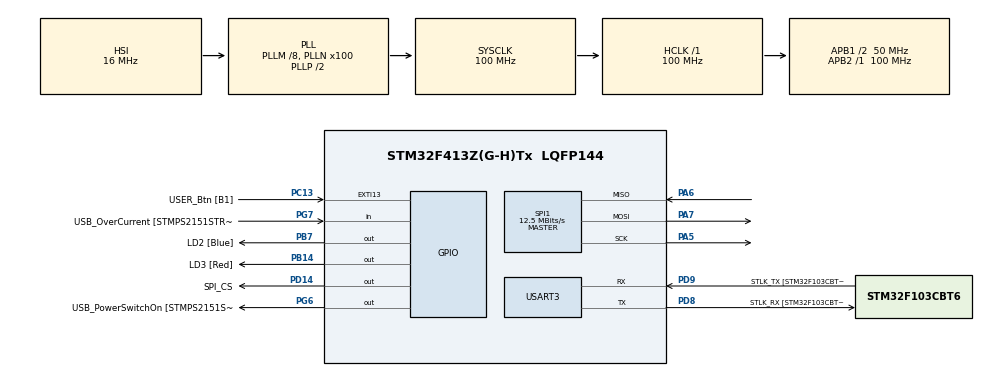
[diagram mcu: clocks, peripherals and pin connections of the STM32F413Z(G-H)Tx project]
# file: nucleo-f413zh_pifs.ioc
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Dma.Request0=SPI1_RX
Dma.Request1=SPI1_TX
Dma.SPI1_RX.0.Direction=DMA_PERIPH_TO_MEMORY
Dma.SPI1_RX.0.FIFOMode=DMA_FIFOMODE_DISABLE
Dma.SPI1_RX.0.Instance=DMA2_Stream0
Dma.SPI1_RX.0.MemDataAlignment=DMA_MDATAALIGN_BYTE
Dma.SPI1_RX.0.MemInc=DMA_MINC_ENABLE
Dma.SPI1_RX.0.Mode=DMA_NORMAL
Dma.SPI1_RX.0.PeriphDataAlignment=DMA_PDATAALIGN_BYTE
Dma.SPI1_RX.0.PeriphInc=DMA_PINC_DISABLE
Dma.SPI1_RX.0.Priority=DMA_PRIORITY_LOW
Dma.SPI1_TX.1.Direction=DMA_MEMORY_TO_PERIPH
Dma.SPI1_TX.1.FIFOMode=DMA_FIFOMODE_DISABLE
Dma.SPI1_TX.1.Instance=DMA2_Stream2
Dma.SPI1_TX.1.MemDataAlignment=DMA_MDATAALIGN_BYTE
Dma.SPI1_TX.1.MemInc=DMA_MINC_ENABLE
Dma.SPI1_TX.1.Mode=DMA_NORMAL
Dma.SPI1_TX.1.PeriphDataAlignment=DMA_PDATAALIGN_BYTE
Dma.SPI1_TX.1.PeriphInc=DMA_PINC_DISABLE
Dma.SPI1_TX.1.Priority=DMA_PRIORITY_LOW
FREERTOS.HEAP_NUMBER=3
FREERTOS.MEMORY_ALLOCATION=0
FREERTOS.Tasks01=defaultTask,0,2048,StartDefaultTask,Default,NULL,Dynamic,NULL,NULL
FREERTOS.configCHECK_FOR_STACK_OVERFLOW=2
FREERTOS.configUSE_STATS_FORMATTING_FUNCTIONS=1
FREERTOS.configUSE_TRACE_FACILITY=1
IWDG.Prescaler=IWDG_PRESCALER_32
IWDG.Reload=800
Mcu.Family=STM32F4
Mcu.Name=STM32F413Z(G-H)Tx
Mcu.Package=LQFP144
NVIC.DMA2_Stream0_IRQn=true\:5\:0\:false\:false\:true\:true\:true
NVIC.DMA2_Stream2_IRQn=true\:5\:0\:false\:false\:true\:true\:true
NVIC.PriorityGroup=NVIC_PRIORITYGROUP_4
NVIC.TIM2_IRQn=true\:0\:0\:false\:false\:true\:false\:true
NVIC.TimeBase=TIM2_IRQn
NVIC.TimeBaseIP=TIM2
PA10.GPIO_Label=USB_ID
PA10.Signal=USB_OTG_FS_ID
PA11.GPIO_Label=USB_DM
PA11.Signal=USB_OTG_FS_DM
PA12.GPIO_Label=USB_DP
PA12.Signal=USB_OTG_FS_DP
PA13.GPIO_Label=TMS
PA13.Mode=Trace_Asynchronous_SW
PA13.Signal=SYS_JTMS-SWDIO
PA14.GPIO_Label=TCK
PA14.Mode=Trace_Asynchronous_SW
PA14.Signal=SYS_JTCK-SWCLK
PA5.Mode=Full_Duplex_Master
PA5.Signal=SPI1_SCK
PA6.Mode=Full_Duplex_Master
PA6.Signal=SPI1_MISO
PA7.Mode=Full_Duplex_Master
PA7.Signal=SPI1_MOSI
PA8.GPIO_Label=USB_SOF [TP1]
PA8.Signal=USB_OTG_FS_SOF
PA9.GPIO_Label=USB_VBUS
PA9.Signal=USB_OTG_FS_VBUS
PB14.GPIO_Label=LD3 [Red]
PB14.Signal=GPIO_Output
PB3.GPIO_Label=SWO
PB3.Mode=Trace_Asynchronous_SW
PB3.Signal=SYS_JTDO-SWO
PB7.GPIO_Label=LD2 [Blue]
PB7.Signal=GPIO_Output
PC13.GPIO_Label=USER_Btn [B1]
PC13.Signal=GPXTI13
PC14-OSC32_IN.Signal=RCC_OSC32_IN
PC15-OSC32_OUT.Signal=RCC_OSC32_OUT
PD14.GPIO_Label=SPI_CS
PD14.Signal=GPIO_Output
PD8.GPIO_Label=STLK_RX [STM32F103CBT6_PA3]
PD8.Mode=Asynchronous
PD8.Signal=USART3_TX
PD9.GPIO_Label=STLK_TX [STM32F103CBT6_PA2]
PD9.Mode=Asynchronous
PD9.Signal=USART3_RX
PG6.GPIO_Label=USB_PowerSwitchOn [STMPS2151STR_EN]
PG6.Signal=GPIO_Output
PG7.GPIO_Label=USB_OverCurrent [STMPS2151STR_FAULT]
PG7.Signal=GPIO_Input
PH0\ -\ OSC_IN.GPIO_Label=MCO
PH0\ -\ OSC_IN.Mode=HSE-External-Oscillator
PH0\ -\ OSC_IN.Signal=RCC_OSC_IN
PH1\ -\ OSC_OUT.Mode=HSE-External-Oscillator
PH1\ -\ OSC_OUT.Signal=RCC_OSC_OUT
ProjectManager.HeapSize=0x200
ProjectManager.StackSize=0x400
ProjectManager.TargetToolchain=SW4STM32
RCC.48MHZClocksFreq_Value=24000000
RCC.AHBFreq_Value=100000000
RCC.APB1CLKDivider=RCC_HCLK_DIV2
RCC.APB1Freq_Value=50000000
RCC.APB1TimFreq_Value=100000000
RCC.APB2Freq_Value=100000000
RCC.APB2TimFreq_Value=100000000
RCC.CortexFreq_Value=100000000
RCC.HCLKFreq_Value=100000000
RCC.HSE_VALUE=8000000
RCC.HSI_VALUE=16000000
RCC.PLLM=8
RCC.PLLMUL=RCC_PLL_MUL9
RCC.PLLN=100
RCC.PRESCALERUSB=RCC_USBCLKSOURCE_PLL_DIV1_5
RCC.SYSCLKFreq_VALUE=100000000
RCC.SYSCLKSource=RCC_SYSCLKSOURCE_PLLCLK
RCC.SYSCLKSourceVirtual=RCC_SYSCLKSOURCE_PLLCLK
RCC.USBFreq_Value=100000000
RCC.VCOOutputFreq_Value=200000000
SPI1.BaudRatePrescaler=SPI_BAUDRATEPRESCALER_8
SPI1.CalculateBaudRate=12.5 MBits/s
SPI1.Direction=SPI_DIRECTION_2LINES
SPI1.Mode=SPI_MODE_MASTER
SPI1.VirtualType=VM_MASTER
USART3.VirtualMode=VM_ASYNC
VP_FREERTOS_VS_ENABLE.Mode=Enabled
VP_IWDG_VS_IWDG.Mode=IWDG_Activate
VP_SYS_VS_tim2.Mode=TIM2
board=NUCLEO-F413ZH

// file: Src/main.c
/**
  ******************************************************************************
  * @file           : main.c
  * @brief          : Main program body
  ******************************************************************************
  * This notice applies to any and all portions of this file
  * that are not between comment pairs USER CODE BEGIN and
  * USER CODE END. Other portions of this file, whether
  * inserted by the user or by software development tools
  * are owned by their respective copyright owners.
  *
  * Copyright (c) 2018 STMicroelectronics International N.V.
  * All rights reserved.
  *
  * Redistribution and use in source and binary forms, with or without
  * modification, are permitted, provided that the following conditions are met:
  *
  * 1. Redistribution of source code must retain the above copyright notice,
  *    this list of conditions and the following disclaimer.
  * 2. Redistributions in binary form must reproduce the above copyright notice,
  *    this list of conditions and the following disclaimer in the documentation
  *    and/or other materials provided with the distribution.
  * 3. Neither the name of STMicroelectronics nor the names of other
  *    contributors to this software may be used to endorse or promote products
  *    derived from this software without specific written permission.
  * 4. This software, including modifications and/or derivative works of this
  *    software, must execute solely and exclusively on microcontroller or
  *    microprocessor devices manufactured by or for STMicroelectronics.
  * 5. Redistribution and use of this software other than as permitted under
  *    this license is void and will automatically terminate your rights under
  *    this license.
  *
  * THIS SOFTWARE IS PROVIDED BY STMICROELECTRONICS AND CONTRIBUTORS "AS IS"
  * AND ANY EXPRESS, IMPLIED OR STATUTORY WARRANTIES, INCLUDING, BUT NOT
  * LIMITED TO, THE IMPLIED WARRANTIES OF MERCHANTABILITY, FITNESS FOR A
  * PARTICULAR PURPOSE AND NON-INFRINGEMENT OF THIRD PARTY INTELLECTUAL PROPERTY
  * RIGHTS ARE DISCLAIMED TO THE FULLEST EXTENT PERMITTED BY LAW. IN NO EVENT
  * SHALL STMICROELECTRONICS OR CONTRIBUTORS BE LIABLE FOR ANY DIRECT, INDIRECT,
  * INCIDENTAL, SPECIAL, EXEMPLARY, OR CONSEQUENTIAL DAMAGES (INCLUDING, BUT NOT
  * LIMITED TO, PROCUREMENT OF SUBSTITUTE GOODS OR SERVICES; LOSS OF USE, DATA,
  * OR PROFITS; OR BUSINESS INTERRUPTION) HOWEVER CAUSED AND ON ANY THEORY OF
  * LIABILITY, WHETHER IN CONTRACT, STRICT LIABILITY, OR TORT (INCLUDING
  * NEGLIGENCE OR OTHERWISE) ARISING IN ANY WAY OUT OF THE USE OF THIS SOFTWARE,
  * EVEN IF ADVISED OF THE POSSIBILITY OF SUCH DAMAGE.
  *
  ******************************************************************************
  */
#include "main.h"
#include "stm32f4xx_hal.h"
#include "cmsis_os.h"

/* USER CODE BEGIN Includes */
#include <stdlib.h>
#include <time.h>
#include <stdio.h>
#include <string.h>
#include <stdarg.h>
#include "../../../source/core/common.h"
#include "uart.h"
#include "../../../source/term/term.h"
#include "../../../source/test/flash_test.h"

#define DISABLE_WATCHDOG_MAGIC  0xDEADBEEF
#define ENABLE_TERMINAL         1
#define ENABLE_FLASH_TEST       0
#define ENABLE_PIFS_TEST        0
#define ENABLE_ERASE_ALL        0
/* USER CODE END Includes */

IWDG_HandleTypeDef hiwdg;

SPI_HandleTypeDef hspi1;
DMA_HandleTypeDef hdma_spi1_rx;
DMA_HandleTypeDef hdma_spi1_tx;

UART_HandleTypeDef huart3;

osThreadId defaultTaskHandle;

/* USER CODE BEGIN PV */
/* Private variables ---------------------------------------------------------*/
osThreadId watchdogTaskHandle;
osMutexDef(printf_mutex);
osMutexId printf_mutex = NULL;
uint32_t disableWatchdog = 0;
extern void defaultTask(void const * argument);
/* USER CODE END PV */

void SystemClock_Config(void);
static void MX_GPIO_Init(void);
static void MX_DMA_Init(void);
static void MX_SPI1_Init(void);
static void MX_USART3_UART_Init(void);
static void MX_IWDG_Init(void);
void StartDefaultTask(void const * argument);

/* USER CODE BEGIN PFP */
/* Private function prototypes -----------------------------------------------*/
void watchdogTask(void const * arg);
/* USER CODE END PFP */

/* USER CODE BEGIN 0 */
static inline void LED_on(void)
{
    HAL_GPIO_WritePin(LD2_GPIO_Port, LD2_Pin, GPIO_PIN_SET);
}

static inline void LED_off(void)
{
    HAL_GPIO_WritePin(LD2_GPIO_Port, LD2_Pin, GPIO_PIN_RESET);
}

static inline void LED_toggle(void)
{
    HAL_GPIO_TogglePin(LD2_GPIO_Port, LD2_Pin);
}
/* USER CODE END 0 */

int main(void)
{

  /* MCU Configuration----------------------------------------------------------*/

  /* Reset of all peripherals, Initializes the Flash interface and the Systick. */
  HAL_Init();

  /* Configure the system clock */
  SystemClock_Config();

  /* USER CODE BEGIN SysInit */
  /* Enable division by zero fault */
  SCB->CCR |= 0x10;
  /* USER CODE END SysInit */

  /* Initialize all configured peripherals */
  MX_GPIO_Init();
  MX_DMA_Init();
  MX_SPI1_Init();
  MX_USART3_UART_Init();
  MX_IWDG_Init();
  /* USER CODE BEGIN 2 */
  srand(time(0));
  UART_printf_("\r\n\r\nBoard initialized\r\n");
#if DEBUG == 1
  UART_printf_("DEBUG\r\n");
#else
  UART_printf_("RELEASE\r\n");
#endif
  UART_printf_("Compiled on " __DATE__ " " __TIME__ "\r\n");
#if ENABLE_WATCHDOG
  UART_printf_("Watchdog started\r\n");
  HAL_IWDG_Refresh(&hiwdg);
#else
  UART_printf_("Watchdog disabled\r\n");
#endif
  setbuf(stdout, NULL);
  printf("+++ printf test! +++\r\n");

  /* USER CODE END 2 */

  /* USER CODE BEGIN RTOS_MUTEX */
  printf_mutex = osMutexCreate(osMutex(printf_mutex));
  /* USER CODE END RTOS_MUTEX */

  /* Create the thread(s) */
  /* definition and creation of defaultTask */
  osThreadDef(defaultTask, StartDefaultTask, osPriorityNormal, 0, 2048);
  defaultTaskHandle = osThreadCreate(osThread(defaultTask), NULL);

  /* USER CODE BEGIN RTOS_THREADS */
  osThreadDef(watchdogTask, watchdogTask, osPriorityNormal, 0, 64);
  watchdogTaskHandle = osThreadCreate(osThread(watchdogTask), NULL);
  /* USER CODE END RTOS_THREADS */

  /* Start scheduler */
  osKernelStart();

  /* We should never get here as control is now taken by the scheduler */

  /* Infinite loop */
  while (1)
  {

  }

}

void SystemClock_Config(void)
{

  RCC_OscInitTypeDef RCC_OscInitStruct;
  RCC_ClkInitTypeDef RCC_ClkInitStruct;

    /**Configure the main internal regulator output voltage
    */
  __HAL_RCC_PWR_CLK_ENABLE();

  __HAL_PWR_VOLTAGESCALING_CONFIG(PWR_REGULATOR_VOLTAGE_SCALE1);

    /**Initializes the CPU, AHB and APB busses clocks
    */
  RCC_OscInitStruct.OscillatorType = RCC_OSCILLATORTYPE_HSI|RCC_OSCILLATORTYPE_LSI;
  RCC_OscInitStruct.HSIState = RCC_HSI_ON;
  RCC_OscInitStruct.HSICalibrationValue = 16;
  RCC_OscInitStruct.LSIState = RCC_LSI_ON;
  RCC_OscInitStruct.PLL.PLLState = RCC_PLL_ON;
  RCC_OscInitStruct.PLL.PLLSource = RCC_PLLSOURCE_HSI;
  RCC_OscInitStruct.PLL.PLLM = 8;
  RCC_OscInitStruct.PLL.PLLN = 100;
  RCC_OscInitStruct.PLL.PLLP = RCC_PLLP_DIV2;
  RCC_OscInitStruct.PLL.PLLQ = 2;
  RCC_OscInitStruct.PLL.PLLR = 2;
  if (HAL_RCC_OscConfig(&RCC_OscInitStruct) != HAL_OK)
  {
    _Error_Handler(__FILE__, __LINE__);
  }

    /**Initializes the CPU, AHB and APB busses clocks
    */
  RCC_ClkInitStruct.ClockType = RCC_CLOCKTYPE_HCLK|RCC_CLOCKTYPE_SYSCLK
                              |RCC_CLOCKTYPE_PCLK1|RCC_CLOCKTYPE_PCLK2;
  RCC_ClkInitStruct.SYSCLKSource = RCC_SYSCLKSOURCE_PLLCLK;
  RCC_ClkInitStruct.AHBCLKDivider = RCC_SYSCLK_DIV1;
  RCC_ClkInitStruct.APB1CLKDivider = RCC_HCLK_DIV2;
  RCC_ClkInitStruct.APB2CLKDivider = RCC_HCLK_DIV1;

  if (HAL_RCC_ClockConfig(&RCC_ClkInitStruct, FLASH_LATENCY_3) != HAL_OK)
  {
    _Error_Handler(__FILE__, __LINE__);
  }

    /**Configure the Systick interrupt time
    */
  HAL_SYSTICK_Config(HAL_RCC_GetHCLKFreq()/1000);

    /**Configure the Systick
    */
  HAL_SYSTICK_CLKSourceConfig(SYSTICK_CLKSOURCE_HCLK);

  /* SysTick_IRQn interrupt configuration */
  HAL_NVIC_SetPriority(SysTick_IRQn, 15, 0);
}

/* IWDG init function */
static void MX_IWDG_Init(void)
{

  hiwdg.Instance = IWDG;
  hiwdg.Init.Prescaler = IWDG_PRESCALER_32;
  hiwdg.Init.Reload = 800;
  if (HAL_IWDG_Init(&hiwdg) != HAL_OK)
  {
    _Error_Handler(__FILE__, __LINE__);
  }

}

/* SPI1 init function */
static void MX_SPI1_Init(void)
{

  /* SPI1 parameter configuration*/
  hspi1.Instance = SPI1;
  hspi1.Init.Mode = SPI_MODE_MASTER;
  hspi1.Init.Direction = SPI_DIRECTION_2LINES;
  hspi1.Init.DataSize = SPI_DATASIZE_8BIT;
  hspi1.Init.CLKPolarity = SPI_POLARITY_LOW;
  hspi1.Init.CLKPhase = SPI_PHASE_1EDGE;
  hspi1.Init.NSS = SPI_NSS_SOFT;
  hspi1.Init.BaudRatePrescaler = SPI_BAUDRATEPRESCALER_8;
  hspi1.Init.FirstBit = SPI_FIRSTBIT_MSB;
  hspi1.Init.TIMode = SPI_TIMODE_DISABLE;
  hspi1.Init.CRCCalculation = SPI_CRCCALCULATION_DISABLE;
  hspi1.Init.CRCPolynomial = 10;
  if (HAL_SPI_Init(&hspi1) != HAL_OK)
  {
    _Error_Handler(__FILE__, __LINE__);
  }

}

/* USART3 init function */
static void MX_USART3_UART_Init(void)
{

  huart3.Instance = USART3;
  huart3.Init.BaudRate = 115200;
  huart3.Init.WordLength = UART_WORDLENGTH_8B;
  huart3.Init.StopBits = UART_STOPBITS_1;
  huart3.Init.Parity = UART_PARITY_NONE;
  huart3.Init.Mode = UART_MODE_TX_RX;
  huart3.Init.HwFlowCtl = UART_HWCONTROL_NONE;
  huart3.Init.OverSampling = UART_OVERSAMPLING_16;
  if (HAL_UART_Init(&huart3) != HAL_OK)
  {
    _Error_Handler(__FILE__, __LINE__);
  }

}

static void MX_DMA_Init(void)
{
  /* DMA controller clock enable */
  __HAL_RCC_DMA2_CLK_ENABLE();

  /* DMA interrupt init */
  /* DMA2_Stream0_IRQn interrupt configuration */
  HAL_NVIC_SetPriority(DMA2_Stream0_IRQn, 5, 0);
  HAL_NVIC_EnableIRQ(DMA2_Stream0_IRQn);
  /* DMA2_Stream2_IRQn interrupt configuration */
  HAL_NVIC_SetPriority(DMA2_Stream2_IRQn, 5, 0);
  HAL_NVIC_EnableIRQ(DMA2_Stream2_IRQn);

}

/** Configure pins as
        * Analog
        * Input
        * Output
        * EVENT_OUT
        * EXTI
     PA8   ------> USB_OTG_FS_SOF
     PA10   ------> USB_OTG_FS_ID
     PA11   ------> USB_OTG_FS_DM
     PA12   ------> USB_OTG_FS_DP
*/
static void MX_GPIO_Init(void)
{

  GPIO_InitTypeDef GPIO_InitStruct;

  /* GPIO Ports Clock Enable */
  __HAL_RCC_GPIOC_CLK_ENABLE();
  __HAL_RCC_GPIOH_CLK_ENABLE();
  __HAL_RCC_GPIOA_CLK_ENABLE();
  __HAL_RCC_GPIOB_CLK_ENABLE();
  __HAL_RCC_GPIOD_CLK_ENABLE();
  __HAL_RCC_GPIOG_CLK_ENABLE();

  /*Configure GPIO pin Output Level */
  HAL_GPIO_WritePin(GPIOB, LD3_Pin|LD2_Pin, GPIO_PIN_RESET);

  /*Configure GPIO pin Output Level */
  HAL_GPIO_WritePin(SPI_CS_GPIO_Port, SPI_CS_Pin, GPIO_PIN_RESET);

  /*Configure GPIO pin Output Level */
  HAL_GPIO_WritePin(USB_PowerSwitchOn_GPIO_Port, USB_PowerSwitchOn_Pin, GPIO_PIN_RESET);

  /*Configure GPIO pin : USER_Btn_Pin */
  GPIO_InitStruct.Pin = USER_Btn_Pin;
  GPIO_InitStruct.Mode = GPIO_MODE_IT_RISING;
  GPIO_InitStruct.Pull = GPIO_NOPULL;
  HAL_GPIO_Init(USER_Btn_GPIO_Port, &GPIO_InitStruct);

  /*Configure GPIO pins : LD3_Pin LD2_Pin */
  GPIO_InitStruct.Pin = LD3_Pin|LD2_Pin;
  GPIO_InitStruct.Mode = GPIO_MODE_OUTPUT_PP;
  GPIO_InitStruct.Pull = GPIO_NOPULL;
  GPIO_InitStruct.Speed = GPIO_SPEED_FREQ_LOW;
  HAL_GPIO_Init(GPIOB, &GPIO_InitStruct);

  /*Configure GPIO pin : SPI_CS_Pin */
  GPIO_InitStruct.Pin = SPI_CS_Pin;
  GPIO_InitStruct.Mode = GPIO_MODE_OUTPUT_PP;
  GPIO_InitStruct.Pull = GPIO_NOPULL;
  GPIO_InitStruct.Speed = GPIO_SPEED_FREQ_LOW;
  HAL_GPIO_Init(SPI_CS_GPIO_Port, &GPIO_InitStruct);

  /*Configure GPIO pin : USB_PowerSwitchOn_Pin */
  GPIO_InitStruct.Pin = USB_PowerSwitchOn_Pin;
  GPIO_InitStruct.Mode = GPIO_MODE_OUTPUT_PP;
  GPIO_InitStruct.Pull = GPIO_NOPULL;
  GPIO_InitStruct.Speed = GPIO_SPEED_FREQ_LOW;
  HAL_GPIO_Init(USB_PowerSwitchOn_GPIO_Port, &GPIO_InitStruct);

  /*Configure GPIO pin : USB_OverCurrent_Pin */
  GPIO_InitStruct.Pin = USB_OverCurrent_Pin;
  GPIO_InitStruct.Mode = GPIO_MODE_INPUT;
  GPIO_InitStruct.Pull = GPIO_NOPULL;
  HAL_GPIO_Init(USB_OverCurrent_GPIO_Port, &GPIO_InitStruct);

  /*Configure GPIO pins : USB_SOF_Pin USB_ID_Pin USB_DM_Pin USB_DP_Pin */
  GPIO_InitStruct.Pin = USB_SOF_Pin|USB_ID_Pin|USB_DM_Pin|USB_DP_Pin;
  GPIO_InitStruct.Mode = GPIO_MODE_AF_PP;
  GPIO_InitStruct.Pull = GPIO_NOPULL;
  GPIO_InitStruct.Speed = GPIO_SPEED_FREQ_VERY_HIGH;
  GPIO_InitStruct.Alternate = GPIO_AF10_OTG_FS;
  HAL_GPIO_Init(GPIOA, &GPIO_InitStruct);

}

/* USER CODE BEGIN 4 */
/**
 * @brief watchdogTask LED blinking and watchdog reloading task.
 * @param arg
 */
void watchdogTask(void const * arg)
{
	(void) arg;

	for ( ; ; )
	{
#if ENABLE_WATCHDOG
        /*
         * Watchdog's timeout is 800 ms
         * Oscillator clock (LSI) = 40 kHz
         * Prescaler = /32
         * Down counter reload value = 1000
         * Timeout = 1 / ( 40000 / 32 ) * 1000 = 0.8 seconds
         */
        if (disableWatchdog != DISABLE_WATCHDOG_MAGIC)
        {
            /* Feed the watchdog */
            HAL_IWDG_Refresh(&hiwdg);
        }
#endif
        LED_toggle();
        osDelay(500);
    }
}

void vApplicationStackOverflowHook(TaskHandle_t xTask, char *pcTaskName)
{
    _print("\r\nStack overflow in task ");
    _print(pcTaskName);
    _print("\r\n");
    while(1)
    {
    }
}
/* USER CODE END 4 */

/* StartDefaultTask function */
void StartDefaultTask(void const * argument)
{

  /* USER CODE BEGIN 5 */
#if ENABLE_TERMINAL
    pifs_status_t ret;
    ret = pifs_init();
    if (ret != PIFS_SUCCESS)
    {
        printf("ERROR: Cannot initialize file system: %i\r\n", ret);
    }
    term_init();
    while (1)
    {
        term_task();
    }
#elif ENABLE_FLASH_TEST
    pifs_flash_init();
    flash_test();
    pifs_flash_delete();
#elif ENABLE_PIFS_TEST
#if ENABLE_ERASE_ALL
    pifs_flash_init();
	UART_printf("Erasing all blocks... ");
	if (flash_erase_all() == 0)
	{
	    UART_printf("Done.\r\n");
	}
	else
	{
	    UART_printf("ERROR!\r\n");
	}
	pifs_flash_delete();
#endif
	pifs_init();
	pifs_test();
    pifs_delete();
#endif
	  /* Infinite loop */
    UART_printf("Halting task\r\n");
	for(;;)
	{
	    osDelay(1);
	}
  /* USER CODE END 5 */
}

void HAL_TIM_PeriodElapsedCallback(TIM_HandleTypeDef *htim)
{
  if (htim->Instance == TIM2) {
    HAL_IncTick();
  }
}

void _Error_Handler(char *file, int line)
{
  /* USER CODE BEGIN Error_Handler_Debug */
    _print("\r\nFatal error in file ");
    _print(file);
    _print("at line 0x");
    _printHex32(line);
    _print("\r\n");
    /* User can add his own implementation to report the HAL error return state */
    while(1)
    {
    }
  /* USER CODE END Error_Handler_Debug */
}

/************************ (C) COPYRIGHT STMicroelectronics *****END OF FILE****/

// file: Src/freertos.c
/**
  ******************************************************************************
  * File Name          : freertos.c
  * Description        : Code for freertos applications
  ******************************************************************************
  * This notice applies to any and all portions of this file
  * that are not between comment pairs USER CODE BEGIN and
  * USER CODE END. Other portions of this file, whether
  * inserted by the user or by software development tools
  * are owned by their respective copyright owners.
  *
  * Copyright (c) 2018 STMicroelectronics International N.V.
  * All rights reserved.
  *
  * Redistribution and use in source and binary forms, with or without
  * modification, are permitted, provided that the following conditions are met:
  *
  * 1. Redistribution of source code must retain the above copyright notice,
  *    this list of conditions and the following disclaimer.
  * 2. Redistributions in binary form must reproduce the above copyright notice,
  *    this list of conditions and the following disclaimer in the documentation
  *    and/or other materials provided with the distribution.
  * 3. Neither the name of STMicroelectronics nor the names of other
  *    contributors to this software may be used to endorse or promote products
  *    derived from this software without specific written permission.
  * 4. This software, including modifications and/or derivative works of this
  *    software, must execute solely and exclusively on microcontroller or
  *    microprocessor devices manufactured by or for STMicroelectronics.
  * 5. Redistribution and use of this software other than as permitted under
  *    this license is void and will automatically terminate your rights under
  *    this license.
  *
  * THIS SOFTWARE IS PROVIDED BY STMICROELECTRONICS AND CONTRIBUTORS "AS IS"
  * AND ANY EXPRESS, IMPLIED OR STATUTORY WARRANTIES, INCLUDING, BUT NOT
  * LIMITED TO, THE IMPLIED WARRANTIES OF MERCHANTABILITY, FITNESS FOR A
  * PARTICULAR PURPOSE AND NON-INFRINGEMENT OF THIRD PARTY INTELLECTUAL PROPERTY
  * RIGHTS ARE DISCLAIMED TO THE FULLEST EXTENT PERMITTED BY LAW. IN NO EVENT
  * SHALL STMICROELECTRONICS OR CONTRIBUTORS BE LIABLE FOR ANY DIRECT, INDIRECT,
  * INCIDENTAL, SPECIAL, EXEMPLARY, OR CONSEQUENTIAL DAMAGES (INCLUDING, BUT NOT
  * LIMITED TO, PROCUREMENT OF SUBSTITUTE GOODS OR SERVICES; LOSS OF USE, DATA,
  * OR PROFITS; OR BUSINESS INTERRUPTION) HOWEVER CAUSED AND ON ANY THEORY OF
  * LIABILITY, WHETHER IN CONTRACT, STRICT LIABILITY, OR TORT (INCLUDING
  * NEGLIGENCE OR OTHERWISE) ARISING IN ANY WAY OUT OF THE USE OF THIS SOFTWARE,
  * EVEN IF ADVISED OF THE POSSIBILITY OF SUCH DAMAGE.
  *
  ******************************************************************************
  */

#include "FreeRTOS.h"
#include "task.h"

/* Hook prototypes */
void vApplicationStackOverflowHook(xTaskHandle xTask, signed char *pcTaskName);

/* USER CODE BEGIN 4 */
__weak void vApplicationStackOverflowHook(xTaskHandle xTask, signed char *pcTaskName)
{
   /* Run time stack overflow checking is performed if
   configCHECK_FOR_STACK_OVERFLOW is defined to 1 or 2. This hook function is
   called if a stack overflow is detected. */
}
/* USER CODE END 4 */

/************************ (C) COPYRIGHT STMicroelectronics *****END OF FILE****/
